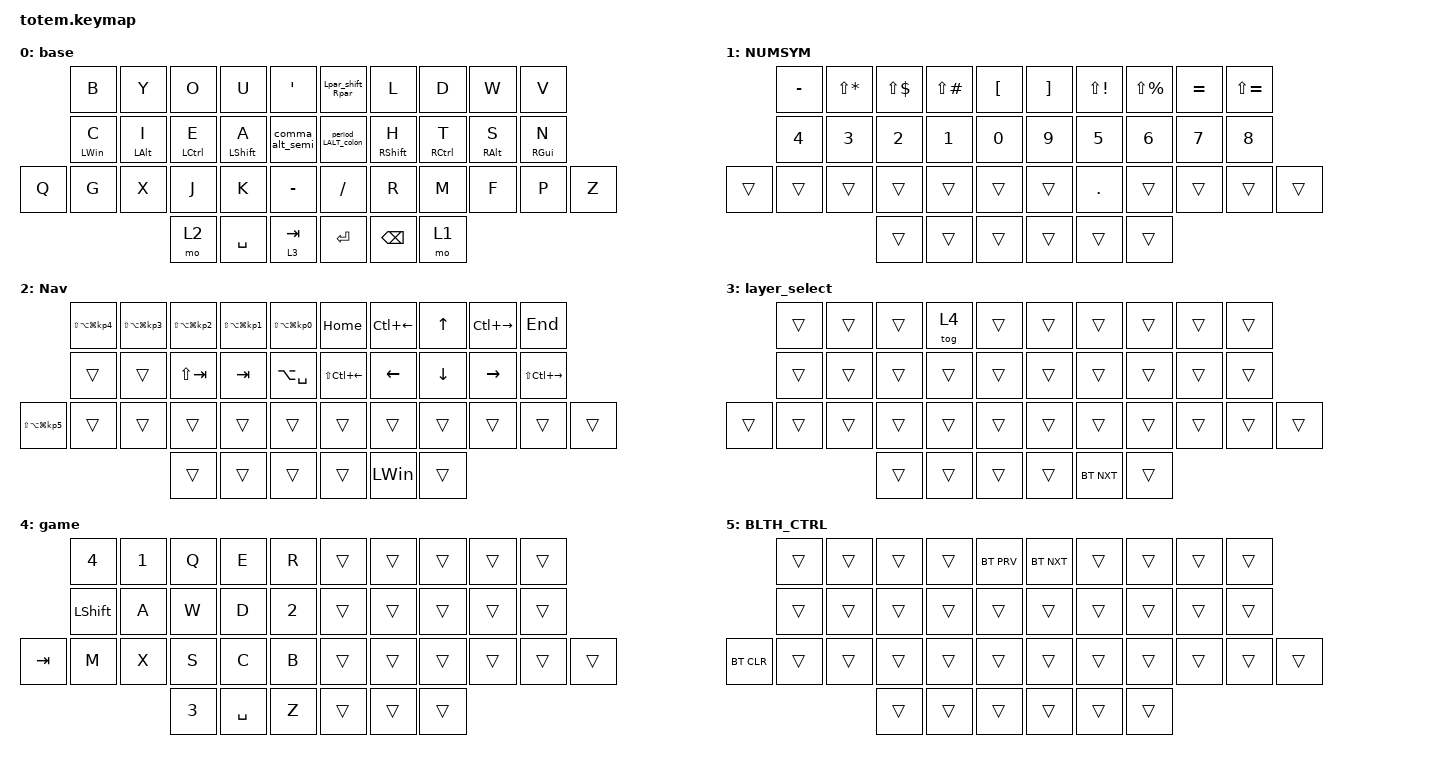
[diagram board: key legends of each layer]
//
//                                                        ▀▀▀▀▀     ▀▀▀▀▀          ▀▀█▀▀
//                                                        ▄▀▀▀▄  ▄  ▄▀▀▀▄  ▄  ▄▀▀▀▄  █  ▄▀▀▀▄
//                                                        █   █  █  █   █  █  █   █  █  █   █
//                                                         ▀▀▀   █   ▀▀▀   █   ▀▀▀   ▀   ▀▀▀
//                                                               █      ▄▄▄█▄▄▄    █   █  
//                                                               ▀      █  █  █     █▄█
//                                                             ▀▀▀▀▀    █  █  █      ▀
//                                                                      ▀  ▀  ▀
//
// ▄▄▄▄▄▄▄▄▄▄▄▄▄▄▄▄▄▄▄▄▄▄▄▄▄▄▄▄▄▄▄▄▄▄▄▄▄▄▄▄▄▄▄▄▄▄▄▄▄▄▄▄▄▄▄▄▄▄▄▄▄▄▄▄▄▄▄▄▄▄▄▄▄▄▄▄▄▄▄▄▄▄▄▄▄▄▄▄▄▄▄▄▄▄▄▄▄▄▄▄▄▄▄▄▄▄▄▄▄▄▄▄▄▄▄▄▄▄▄▄▄▄▄▄▄▄▄▄▄▄▄▄▄▄▄▄▄▄▄▄▄▄▄▄▄▄▄▄▄

#include <behaviors.dtsi>
#include <dt-bindings/zmk/bt.h>
#include <dt-bindings/zmk/keys.h>

#define BASE 0
#define NAV  1
#define SYM  2
#define ADJ  3
#define TVP1 4
#define TVP2 5

&mt {
    quick-tap-ms = <150>;
    flavor = "tap-preferred";
    tapping-term-ms = <210>;
};

/ {
    combos {
        compatible = "zmk,combos";

        paste {
            bindings = <&kp LC(V)>;
            key-positions = <35 26>;
        };

        copy {
            bindings = <&kp LC(C)>;
            key-positions = <35 15>;
        };

        cut {
            bindings = <&kp LC(X)>;
            key-positions = <35 5>;
        };

        pinky_ESC {
            bindings = <&kp ESCAPE>;
            key-positions = <1 8>;
        };

        search {
            bindings = <&kp LA(SPACE)>;
            key-positions = <6 7 8>;
        };

        home {
            bindings = <&to 0>;
            key-positions = <32 33 34>;
        };

        TLYR-BLTH_CTRL {
            bindings = <&to 5>;
            key-positions = <32 33 34 35 36 37>;
        };
    };

    behaviors {
        Lpar_shift_Rpar: Lpar_shift_Rpar {
            compatible = "zmk,behavior-mod-morph";
            label = "LPAR_SHIFT_RPAR";
            bindings = <&kp LEFT_PARENTHESIS>, <&kp RIGHT_PARENTHESIS>;

            #binding-cells = <0>;
            mods = <(MOD_LSFT)>;
        };

        Fslash_alt_Bslash: Fslash_alt_Bslash {
            compatible = "zmk,behavior-mod-morph";
            label = "FSLASH_ALT_BSLASH";
            bindings = <&kp SLASH>, <&kp BACKSLASH>;

            #binding-cells = <0>;
            mods = <(MOD_LALT)>;
        };

        Lbrkt_alt_Rbrkt: Lbrkt_alt_Rbrkt {
            compatible = "zmk,behavior-mod-morph";
            label = "LBRKT_ALT_RBRKT";
            bindings = <&kp LEFT_BRACKET>, <&kp RIGHT_BRACKET>;

            #binding-cells = <0>;
            mods = <(MOD_RALT)>;
        };

        period_LALT_colon: period_LALT_colon {
            compatible = "zmk,behavior-mod-morph";
            label = "PERIOD_LALT_COLON";
            bindings = <&kp PERIOD>, <&kp COLON>;

            #binding-cells = <0>;
            mods = <(MOD_LALT)>;
        };

        comma_alt_semi: comma_alt_semi {
            compatible = "zmk,behavior-mod-morph";
            label = "COMMA_ALT_SEMI";
            bindings = <&kp COMMA>, <&kp SEMICOLON>;

            #binding-cells = <0>;
            mods = <(MOD_RALT)>;
        };
    };

    keymap {
        compatible = "zmk,keymap";

        // ▄▄▄▄▄▄▄▄▄▄▄▄▄▄▄▄▄▄▄▄▄▄▄▄▄▄▄▄▄▄▄▄▄▄▄▄▄▄▄▄▄▄▄▄▄▄▄▄▄▄▄▄▄▄▄▄▄▄▄▄▄▄▄▄▄▄▄▄▄▄▄▄▄▄▄▄▄▄▄▄▄▄▄▄▄▄▄▄▄▄▄▄▄▄▄▄▄▄▄▄▄▄▄▄▄▄▄▄▄▄▄▄▄▄▄▄▄▄▄▄▄▄▄▄▄▄▄▄▄▄▄▄▄▄▄▄▄▄▄▄▄▄▄▄▄▄▄▄▄
        // ▄▄▄▄▄▄▄▄▄▄▄▄▄▄▄▄▄▄▄▄▄▄▄▄▄▄▄▄▄▄▄▄▄▄▄▄▄▄▄▄▄▄▄▄▄▄▄▄▄▄▄▄▄▄▄▄▄▄▄▄▄▄▄▄▄▄▄▄▄▄▄▄▄▄▄▄▄▄▄▄▄▄▄▄▄▄▄▄▄▄▄▄▄▄▄▄▄▄▄▄▄▄▄▄▄▄▄▄▄▄▄▄▄▄▄▄▄▄▄▄▄▄▄▄▄▄▄▄▄▄▄▄▄▄▄▄▄▄▄▄▄▄▄▄▄▄▄▄▄
        // ▄▄▄▄▄▄▄▄▄▄▄▄▄▄▄▄▄▄▄▄▄▄▄▄▄▄▄▄▄▄▄▄▄▄▄▄▄▄▄▄▄▄▄▄▄▄▄▄▄▄▄▄▄▄▄▄▄▄▄▄▄▄▄▄▄▄▄▄▄▄▄▄▄▄▄▄▄▄▄▄▄▄▄▄▄▄▄▄▄▄▄▄▄▄▄▄▄▄▄▄▄▄▄▄▄▄▄▄▄▄▄▄▄▄▄▄▄▄▄▄▄▄▄▄▄▄▄▄▄▄▄▄▄▄▄▄▄▄▄▄▄▄▄▄▄▄▄▄▄
        // ▄▄▄▄▄▄▄▄▄▄▄▄▄▄▄▄▄▄▄▄▄▄▄▄▄▄▄▄▄▄▄▄▄▄▄▄▄▄▄▄▄▄▄▄▄▄▄▄▄▄▄▄▄▄▄▄▄▄▄▄▄▄▄▄▄▄▄▄▄▄▄▄▄▄▄▄▄▄▄▄▄▄▄▄▄▄▄▄▄▄▄▄▄▄▄▄▄▄▄▄▄▄▄▄▄▄▄▄▄▄▄▄▄▄▄▄▄▄▄▄▄▄▄▄▄▄▄▄▄▄▄▄▄▄▄▄▄▄▄▄▄▄▄▄▄▄▄▄▄
        // ▄▄▄▄▄▄▄▄▄▄▄▄▄▄▄▄▄▄▄▄▄▄▄▄▄▄▄▄▄▄▄▄▄▄▄▄▄▄▄▄▄▄▄▄▄▄▄▄▄▄▄▄▄▄▄▄▄▄▄▄▄▄▄▄▄▄▄▄▄▄▄▄▄▄▄▄▄▄▄▄▄▄▄▄▄▄▄▄▄▄▄▄▄▄▄▄▄▄▄▄▄▄▄▄▄▄▄▄▄▄▄▄▄▄▄▄▄▄▄▄▄▄▄▄▄▄▄▄▄▄▄▄▄▄▄▄▄▄▄▄▄▄▄▄▄▄▄▄▄
        // ▄▄▄▄▄▄▄▄▄▄▄▄▄▄▄▄▄▄▄▄▄▄▄▄▄▄▄▄▄▄▄▄▄▄▄▄▄▄▄▄▄▄▄▄▄▄▄▄▄▄▄▄▄▄▄▄▄▄▄▄▄▄▄▄▄▄▄▄▄▄▄▄▄▄▄▄▄▄▄▄▄▄▄▄▄▄▄▄▄▄▄▄▄▄▄▄▄▄▄▄▄▄▄▄▄▄▄▄▄▄▄▄▄▄▄▄▄▄▄▄▄▄▄▄▄▄▄▄▄▄▄▄▄▄▄▄▄▄▄▄▄▄▄▄▄▄▄▄▄

        Base_layer {
            bindings = <
       &kp B           &kp Y           &kp O        &kp U             &kp APOS           &Lpar_shift_Rpar    &kp L          &kp D        &kp W            &kp V
       &mt LEFT_WIN C  &mt LEFT_ALT I  &mt LCTRL E  &mt LEFT_SHIFT A  &comma_alt_semi    &period_LALT_colon  &mt RSHIFT H   &mt RCTRL T  &mt RIGHT_ALT S  &mt RIGHT_GUI N
&kp Q  &kp G           &kp X           &kp J        &kp K             &kp MINUS          &kp SLASH           &kp R          &kp M        &kp F            &kp P            &kp Z
                                       &mo 2        &kp SPACE         &lt 3 TAB          &kp RET             &kp BACKSPACE  &mo 1
            >;

            label = "base";
        };

        Number_Symbol {
            bindings = <
        &kp MINUS     &kp LS(STAR)  &kp LS(DLLR)  &kp LS(POUND)  &kp LBKT    &kp RBKT  &kp LS(EXCL)  &kp LS(PRCNT)  &kp EQUAL  &kp LS(EQUAL)
        &kp NUMBER_4  &kp N3        &kp N2        &kp N1         &kp N0      &kp N9    &kp N5        &kp NUMBER_6   &kp N7     &kp N8
&trans  &trans        &trans        &trans        &trans         &trans      &trans    &kp PERIOD    &trans         &trans     &trans         &trans
                                    &trans        &trans         &trans      &trans    &trans        &trans
            >;

            label = "NUMSYM";
        };

        Nav {
            bindings = <
                             &kp LS(LA(LG(KP_NUMBER_4)))  &kp LS(LA(LG(KP_NUMBER_3)))  &kp LS(LA(LG(KP_NUMBER_2)))  &kp LS(LA(LG(KP_NUMBER_1)))  &kp LS(LA(LG(KP_NUMBER_0)))    &kp HOME          &kp LC(LEFT)  &kp UP    &kp LC(RIGHT)  &kp END
                             &trans                       &trans                       &kp LS(TAB)                  &kp TAB                      &kp LA(SPACE)                  &kp LS(LC(LEFT))  &kp LEFT      &kp DOWN  &kp RIGHT      &kp LS(LC(RIGHT))
&kp LS(LA(LG(KP_NUMBER_5)))  &trans                       &trans                       &trans                       &trans                       &trans                         &trans            &trans        &trans    &trans         &trans             &trans
                                                                                       &trans                       &trans                       &trans                         &trans            &kp LEFT_WIN  &trans
            >;
        };

        layer_select {
            bindings = <
        &trans  &trans  &trans  &tog 4  &trans    &trans  &trans      &trans  &trans  &trans
        &trans  &trans  &trans  &trans  &trans    &trans  &trans      &trans  &trans  &trans
&trans  &trans  &trans  &trans  &trans  &trans    &trans  &trans      &trans  &trans  &trans  &trans
                        &trans  &trans  &trans    &trans  &bt BT_NXT  &trans
            >;
        };

        game {
            bindings = <
         &kp N4     &kp NUMBER_1  &kp Q   &kp E      &kp R     &trans  &trans  &trans  &trans  &trans
         &kp LSHFT  &kp A         &kp W   &kp D      &kp N2    &trans  &trans  &trans  &trans  &trans
&kp TAB  &kp M      &kp X         &kp S   &kp C      &kp B     &trans  &trans  &trans  &trans  &trans  &trans
                                  &kp N3  &kp SPACE  &kp Z     &trans  &trans  &trans
            >;
        };

        BLTH_CTRL {
            bindings = <
            &trans  &trans  &trans  &trans  &bt BT_PRV    &bt BT_NXT  &trans  &trans  &trans  &trans
            &trans  &trans  &trans  &trans  &trans        &trans      &trans  &trans  &trans  &trans
&bt BT_CLR  &trans  &trans  &trans  &trans  &trans        &trans      &trans  &trans  &trans  &trans  &trans
                            &trans  &trans  &trans        &trans      &trans  &trans
            >;
        };
    };
};
